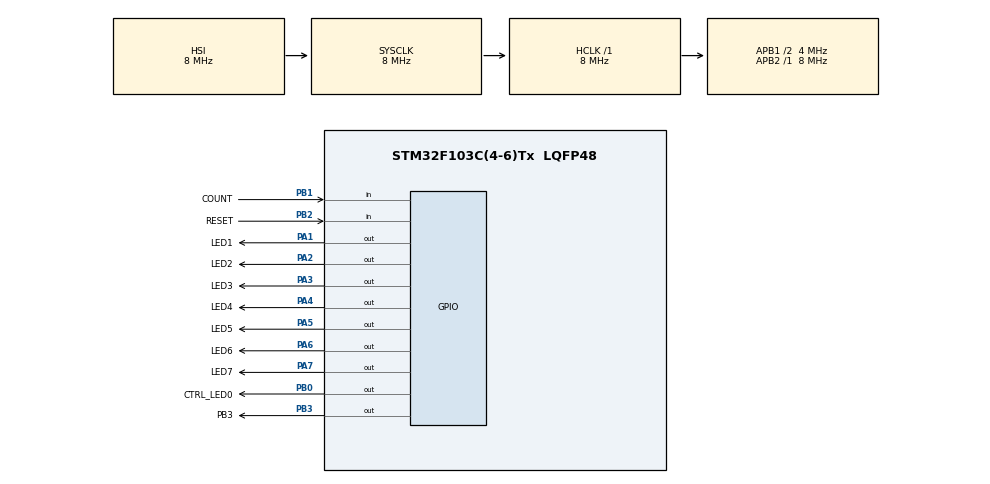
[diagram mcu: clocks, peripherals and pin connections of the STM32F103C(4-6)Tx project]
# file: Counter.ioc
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Mcu.Family=STM32F1
Mcu.Name=STM32F103C(4-6)Tx
Mcu.Package=LQFP48
NVIC.PriorityGroup=NVIC_PRIORITYGROUP_4
NVIC.TIM2_IRQn=true\:0\:0\:false\:false\:true\:true\:true
PA1.GPIO_Label=LED1
PA1.Signal=GPIO_Output
PA13.Mode=Serial_Wire
PA13.Signal=SYS_JTMS-SWDIO
PA14.Mode=Serial_Wire
PA14.Signal=SYS_JTCK-SWCLK
PA2.GPIO_Label=LED2
PA2.Signal=GPIO_Output
PA3.GPIO_Label=LED3
PA3.Signal=GPIO_Output
PA4.GPIO_Label=LED4
PA4.Signal=GPIO_Output
PA5.GPIO_Label=LED5
PA5.Signal=GPIO_Output
PA6.GPIO_Label=LED6
PA6.Signal=GPIO_Output
PA7.GPIO_Label=LED7
PA7.Signal=GPIO_Output
PB0.GPIO_Label=CTRL_LED0
PB0.Signal=GPIO_Output
PB1.GPIO_Label=COUNT
PB1.Signal=GPIO_Input
PB2.GPIO_Label=RESET
PB2.Signal=GPIO_Input
PB3.GPIO_Label=PB3
PB3.Signal=GPIO_Output
ProjectManager.HeapSize=0x200
ProjectManager.StackSize=0x400
ProjectManager.TargetToolchain=STM32CubeIDE
RCC.AHBFreq_Value=8000000
RCC.APB1CLKDivider=RCC_HCLK_DIV2
RCC.APB1Freq_Value=4000000
RCC.APB1TimFreq_Value=8000000
RCC.APB2Freq_Value=8000000
RCC.APB2TimFreq_Value=8000000
RCC.HCLKFreq_Value=8000000
RCC.PLLMUL=RCC_PLL_MUL16
RCC.SYSCLKFreq_VALUE=8000000
RCC.USBFreq_Value=64000000
TIM2.Period=9
TIM2.Prescaler=7999
VP_TIM2_VS_ClockSourceINT.Mode=Internal
board=custom

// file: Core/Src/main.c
/* USER CODE BEGIN Header */
/**
  ******************************************************************************
  * @file           : main.c
  * @brief          : Main program body
  ******************************************************************************
  * @attention
  *
  * <h2><center>&copy; Copyright (c) 2021 STMicroelectronics.
  * All rights reserved.</center></h2>
  *
  * This software component is licensed by ST under BSD 3-Clause license,
  * the "License"; You may not use this file except in compliance with the
  * License. You may obtain a copy of the License at:
  *                        opensource.org/licenses/BSD-3-Clause
  *
  ******************************************************************************
  */
/* USER CODE END Header */
#include "main.h"

TIM_HandleTypeDef htim2;

void SystemClock_Config(void);
static void MX_GPIO_Init(void);
static void MX_TIM2_Init(void);

/* USER CODE BEGIN 0 */
void display7SEG(int);
char num = 0;
/* USER CODE END 0 */

int main(void)
{

  /* MCU Configuration--------------------------------------------------------*/

  /* Reset of all peripherals, Initializes the Flash interface and the Systick. */
  HAL_Init();

  /* Configure the system clock */
  SystemClock_Config();

  /* Initialize all configured peripherals */
  MX_GPIO_Init();
  MX_TIM2_Init();
  /* USER CODE BEGIN 2 */
  HAL_TIM_Base_Start_IT(&htim2);
  /* USER CODE END 2 */

  /* Infinite loop */
  while (1)
  {

    /* USER CODE BEGIN 3 */

	  if(HAL_GPIO_ReadPin(GPIOB, GPIO_PIN_1)){
		  while (HAL_GPIO_ReadPin(GPIOB, GPIO_PIN_1))
			  continue;
		  num++;
	  }
	  else if(HAL_GPIO_ReadPin(GPIOB, GPIO_PIN_2)){
		  while (HAL_GPIO_ReadPin(GPIOB, GPIO_PIN_2))
			  continue;
		  num = 0;
	  }

  }
  /* USER CODE END 3 */
}

void SystemClock_Config(void)
{
  RCC_OscInitTypeDef RCC_OscInitStruct = {0};
  RCC_ClkInitTypeDef RCC_ClkInitStruct = {0};

  /** Initializes the RCC Oscillators according to the specified parameters
  * in the RCC_OscInitTypeDef structure.
  */
  RCC_OscInitStruct.OscillatorType = RCC_OSCILLATORTYPE_HSI;
  RCC_OscInitStruct.HSIState = RCC_HSI_ON;
  RCC_OscInitStruct.HSICalibrationValue = RCC_HSICALIBRATION_DEFAULT;
  RCC_OscInitStruct.PLL.PLLState = RCC_PLL_NONE;
  if (HAL_RCC_OscConfig(&RCC_OscInitStruct) != HAL_OK)
  {
    Error_Handler();
  }
  /** Initializes the CPU, AHB and APB buses clocks
  */
  RCC_ClkInitStruct.ClockType = RCC_CLOCKTYPE_HCLK|RCC_CLOCKTYPE_SYSCLK
                              |RCC_CLOCKTYPE_PCLK1|RCC_CLOCKTYPE_PCLK2;
  RCC_ClkInitStruct.SYSCLKSource = RCC_SYSCLKSOURCE_HSI;
  RCC_ClkInitStruct.AHBCLKDivider = RCC_SYSCLK_DIV1;
  RCC_ClkInitStruct.APB1CLKDivider = RCC_HCLK_DIV2;
  RCC_ClkInitStruct.APB2CLKDivider = RCC_HCLK_DIV1;

  if (HAL_RCC_ClockConfig(&RCC_ClkInitStruct, FLASH_LATENCY_0) != HAL_OK)
  {
    Error_Handler();
  }
}

static void MX_TIM2_Init(void)
{

  TIM_ClockConfigTypeDef sClockSourceConfig = {0};
  TIM_MasterConfigTypeDef sMasterConfig = {0};

  htim2.Instance = TIM2;
  htim2.Init.Prescaler = 7999;
  htim2.Init.CounterMode = TIM_COUNTERMODE_UP;
  htim2.Init.Period = 9;
  htim2.Init.ClockDivision = TIM_CLOCKDIVISION_DIV1;
  htim2.Init.AutoReloadPreload = TIM_AUTORELOAD_PRELOAD_DISABLE;
  if (HAL_TIM_Base_Init(&htim2) != HAL_OK)
  {
    Error_Handler();
  }
  sClockSourceConfig.ClockSource = TIM_CLOCKSOURCE_INTERNAL;
  if (HAL_TIM_ConfigClockSource(&htim2, &sClockSourceConfig) != HAL_OK)
  {
    Error_Handler();
  }
  sMasterConfig.MasterOutputTrigger = TIM_TRGO_RESET;
  sMasterConfig.MasterSlaveMode = TIM_MASTERSLAVEMODE_DISABLE;
  if (HAL_TIMEx_MasterConfigSynchronization(&htim2, &sMasterConfig) != HAL_OK)
  {
    Error_Handler();
  }

}

static void MX_GPIO_Init(void)
{
  GPIO_InitTypeDef GPIO_InitStruct = {0};

  /* GPIO Ports Clock Enable */
  __HAL_RCC_GPIOA_CLK_ENABLE();
  __HAL_RCC_GPIOB_CLK_ENABLE();

  /*Configure GPIO pin Output Level */
  HAL_GPIO_WritePin(GPIOA, LED1_Pin|LED2_Pin|LED3_Pin|LED4_Pin
                          |LED5_Pin|LED6_Pin|LED7_Pin, GPIO_PIN_RESET);

  /*Configure GPIO pin Output Level */
  HAL_GPIO_WritePin(GPIOB, CTRL_LED0_Pin|PB3_Pin, GPIO_PIN_RESET);

  /*Configure GPIO pins : LED1_Pin LED2_Pin LED3_Pin LED4_Pin
                           LED5_Pin LED6_Pin LED7_Pin */
  GPIO_InitStruct.Pin = LED1_Pin|LED2_Pin|LED3_Pin|LED4_Pin
                          |LED5_Pin|LED6_Pin|LED7_Pin;
  GPIO_InitStruct.Mode = GPIO_MODE_OUTPUT_PP;
  GPIO_InitStruct.Pull = GPIO_NOPULL;
  GPIO_InitStruct.Speed = GPIO_SPEED_FREQ_LOW;
  HAL_GPIO_Init(GPIOA, &GPIO_InitStruct);

  /*Configure GPIO pins : CTRL_LED0_Pin PB3_Pin */
  GPIO_InitStruct.Pin = CTRL_LED0_Pin|PB3_Pin;
  GPIO_InitStruct.Mode = GPIO_MODE_OUTPUT_PP;
  GPIO_InitStruct.Pull = GPIO_NOPULL;
  GPIO_InitStruct.Speed = GPIO_SPEED_FREQ_LOW;
  HAL_GPIO_Init(GPIOB, &GPIO_InitStruct);

  /*Configure GPIO pins : COUNT_Pin RESET_Pin */
  GPIO_InitStruct.Pin = COUNT_Pin|RESET_Pin;
  GPIO_InitStruct.Mode = GPIO_MODE_INPUT;
  GPIO_InitStruct.Pull = GPIO_NOPULL;
  HAL_GPIO_Init(GPIOB, &GPIO_InitStruct);

}

/* USER CODE BEGIN 4 */

void display7SEG(int num){
	char led7seg[10] = {0x3F, 0x06, 0x5B, 0x4F, 0x66, 0x6D, 0x7D, 0x07, 0x7F, 0x6F};
	// set value for PIN 1 - 7
	GPIOA->BSRR = (uint32_t)(~(led7seg[num] << 1));
}

//int counter = 1;
//int num = 0;
//int x10 = 0;
//int x1 = 0;
int a = 10;

void HAL_TIM_PeriodElapsedCallback ( TIM_HandleTypeDef * htim )
{
	if (a == 10){
	  HAL_GPIO_WritePin(GPIOB, GPIO_PIN_0, 0);
	  HAL_GPIO_WritePin(GPIOB, GPIO_PIN_3, 1);
	  display7SEG(num / 10);
	}
	else if (a == 20){
	  HAL_GPIO_WritePin(GPIOB, GPIO_PIN_0, 1);
	  HAL_GPIO_WritePin(GPIOB, GPIO_PIN_3, 0);
	  display7SEG(num % 10);
	}
	//a = 1 - a;
	if (--a == 0) a = 20;
	/*
	if (--counter == 0){
		//display7SEG(led);
		counter = 110;
		x10 = num / 10;
		x1 = num % 10;
		if (++num == 100)
			num = 0;
	}*/

}
/* USER CODE END 4 */

void Error_Handler(void)
{
  __disable_irq();
  while (1)
  {
  }
}

/************************ (C) COPYRIGHT STMicroelectronics *****END OF FILE****/
